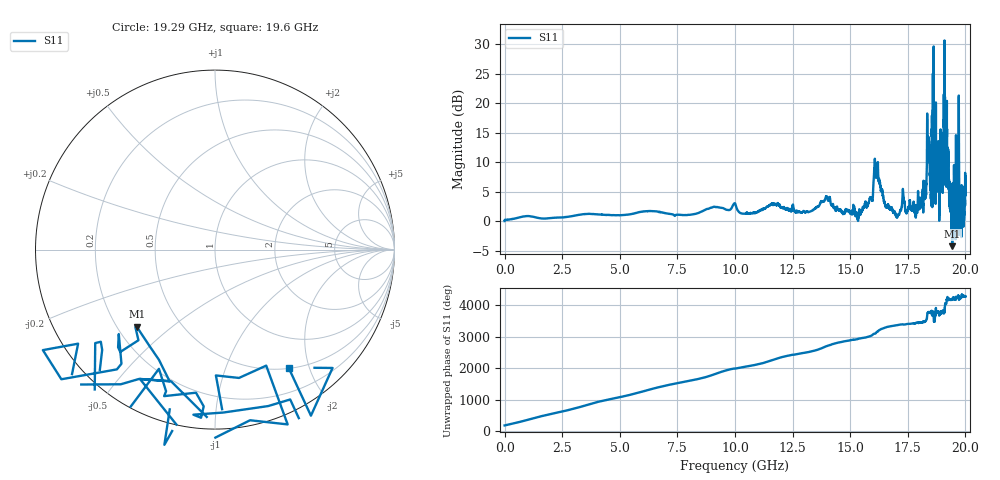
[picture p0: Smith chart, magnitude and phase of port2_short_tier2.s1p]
! Created with skrf 1.8.0 (http://scikit-rf.org).
# GHz S RI R 50.0
!freq ReS11 ImS11
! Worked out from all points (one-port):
!   10001 points, 1 MHz to 20 GHz, reference 50 ohm
!   lowest |S11| = -4.3 dB at 19.43 GHz (marker M1), VSWR 4.16, Z = 13.9 - j19.1 ohm
!   |S11| at or under -10 dB: nowhere
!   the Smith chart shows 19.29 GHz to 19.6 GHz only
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0.001  -0.9999 0.000675
0.980951  1.097 -0.1068
2.500875  -0.1033 -1.068
3.446828  0.1073 1.14
5.00075  1.12 0.00314
5.972701  -1.197 0.103
6.490676  0.1998 -1.196
7.500625  0.0885 1.128
8.264587  -1.105 -0.3093
9.100545  1.316 0.1356
10.0005  -1.391 -0.2583
11.15044  1.223 -0.1838
11.59842  -0.1709 1.404
12.50038  -0.0446 -1.348
13.33433  1.163 0.3743
13.9883  -1.597 -0.1239
15.00025  1.164 0.1237
15.76421  -0.6639 1.183
16.13819  -0.3124 -2.472
16.28619  2.032 -0.6646
16.57617  0.5123 1.227
17.50013  -1.233 0.1863
18.24009  -0.3499 -1.545
18.52407  -1.492 -0.4754
18.72006  7.517 -6.837
18.99805  -2.13 -1.259
19.42803  -0.436 -0.4297
20  1.79 -1.598
